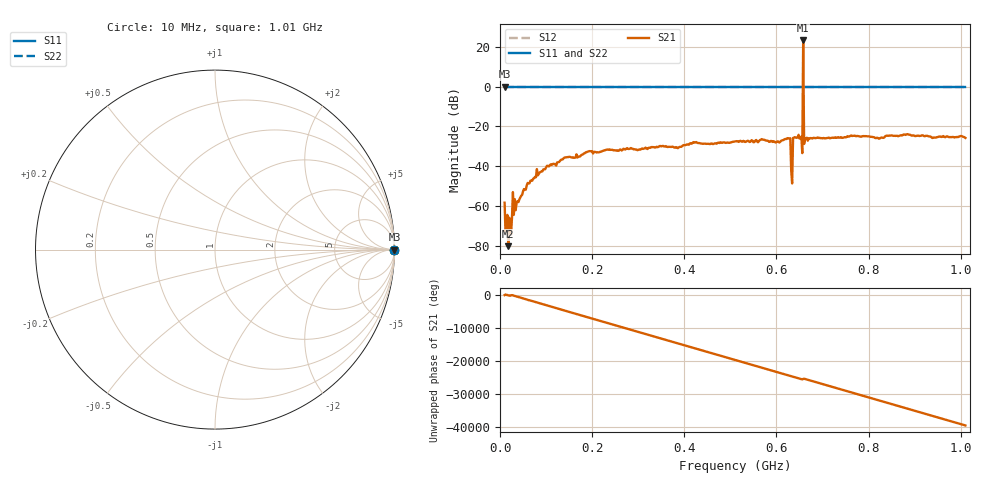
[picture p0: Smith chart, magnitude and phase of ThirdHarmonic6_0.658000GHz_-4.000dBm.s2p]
! 8/15/2025 9:50:55 PM
! C:\ANRITSUVNA\TEMP\TEMP.S2P
! CHANNEL.1
! TR.MEASUREMENT
! RAW.DATA
! RF.CORRECTION.OFF
! AVERAGING.OFF
! IF.BANDWIDTH: 5KHZ
! SWEEPTYPE:  FREQ.SWEEP(Linear)
! Reference Plane Port Info
! PORT:  PORT1  PORT2
! DISTANCE:  0  m  0  m
! TIME:  0  s  0  s
! PHASE.OFFSET:  0  deg.  0  deg.
! LOSS:  0  dB  0  dB
! REF.LOSS:  0  dB  0  dB
! REF.FREQ:  0  Hz  0  Hz
! Power Info
! POWER:  -20  dBm  -20  dBm
! EFF.POWER:  -20  dBm  -20  dBm
! SOURCE.ATTEN:  0  dB  0  dB
! TEST.ATTEN:  0  dB  0  dB
# GHZ S RI R 50.0
! FREQ.GHZ  S11RE  S11IM  S21RE  S21IM  S12RE  S12IM  S22RE  S22IM
!; PortSelection: Port_12
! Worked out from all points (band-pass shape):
!   501 points, 10 MHz to 1.01 GHz, reference 50 ohm
!   highest |S21| = 23.25 dB at 658 MHz (marker M1); lowest = -80.2 dB at 18 MHz (marker M2)
!   |S21| within 3 dB of the highest: 657.8941 MHz to 658.1153 MHz (221.2 kHz wide, 0.0336 % of centre)
!   lowest |S11| = 0.0 dB at 10 MHz (marker M3)
!   |S11| at or under -10 dB: nowhere
!   |S22| runs from 0.0 to 0.0 dB; largest |S21 - S12| = 16
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0.01  1 0  -0.000267 -0.00118  1 0  1 0
0.014  1 0  0.000145 -0.000279  1 0  1 0
0.018  1 0  -6.82e-05 7.03e-05  1 0  1 0
0.022  1 0  0.00019 0.000264  1 0  1 0
0.024  1 0  -0.000159 -0.000107  1 0  1 0
0.032  1 0  0.00149 9.74e-05  1 0  1 0
0.076  1 0  0.00539 0.000464  1 0  1 0
0.178  1 0  -0.0193 -0.00351  1 0  1 0
0.344  1 0  0.0296 -0.00861  1 0  1 0
0.51  1 0  -0.038 0.0175  1 0  1 0
0.626  1 0  -0.0503 0.00376  1 0  1 0
0.63  1 0  0.0488 0.0131  1 0  1 0
0.636  1 0  -0.0329 0.0395  1 0  1 0
0.64  1 0  0.047 -0.0264  1 0  1 0
0.652  1 0  -0.0461 -0.0211  1 0  1 0
0.654  1 0  -0.0327 0.0454  1 0  1 0
0.658  1 0  -14.28 2.752  1 0  1 0
0.662  1 0  -0.0467 0.0168  1 0  1 0
0.664  1 0  0.00959 0.0492  1 0  1 0
0.678  1 0  -0.0276 -0.0415  1 0  1 0
0.844  1 0  0.0474 0.0348  1 0  1 0
1.01  1 0  -0.0514 -0.00486  1 0  1 0
